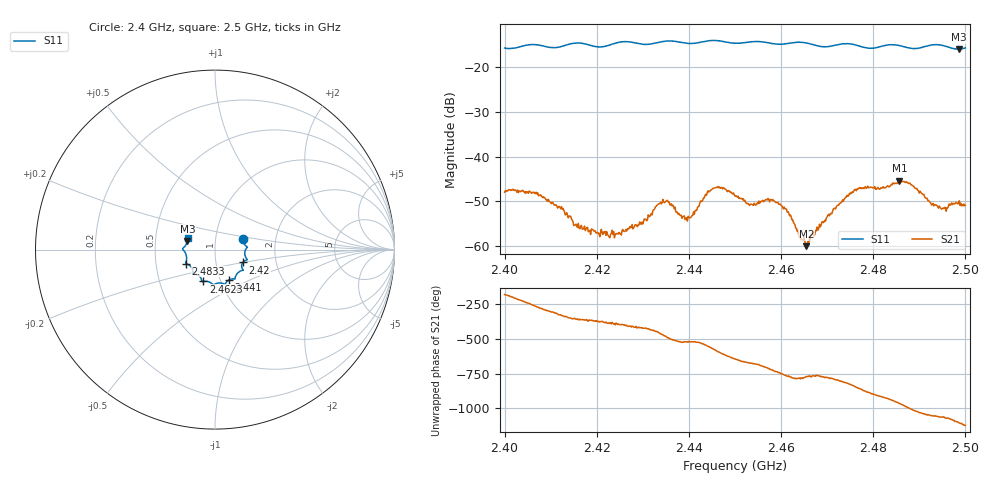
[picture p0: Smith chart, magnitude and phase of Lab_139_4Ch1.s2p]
# Hz S RI R 50
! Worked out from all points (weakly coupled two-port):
!   601 points, 2.4 GHz to 2.5 GHz, reference 50 ohm
!   highest |S21| = -45.43 dB at 2.4857 GHz (marker M1); lowest = -60.1 dB at 2.4655 GHz (marker M2)
!   lowest |S11| = -15.9 dB at 2.4987 GHz (marker M3), VSWR 1.38, Z = 36.5 + j3.46 ohm
!   |S11| at or under -10 dB: start of sweep to end of sweep
!   S12 and S22 are empty: the file has one direction only
!   S11 on the Smith chart (normalised r, x): 2.4 GHz: 1.35, +0.16; 2.42 GHz: 1.35, -0.20; 2.441 GHz: 1.09, -0.39; 2.4623 GHz: 0.83, -0.30; 2.4833 GHz: 0.71, -0.12; 2.5 GHz: 0.73, +0.10
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2.4e9  0.1543 0.0591  -0.00397 -4.45e-05  0 0  0 0
2.407333e9  0.1786 0.0117  9.84e-05 0.00362  0 0  0 0
2.416667e9  0.1783 -0.0569  0.00168 -7.7e-06  0 0  0 0
2.42e9  0.1554 -0.0713  0.00135 -0.000298  0 0  0 0
2.428333e9  0.1486 -0.1167  0.00101 -0.00138  0 0  0 0
2.433333e9  0.1131 -0.1539  -0.000113 -0.00291  0 0  0 0
2.435333e9  0.112 -0.1638  -0.00211 -0.00243  0 0  0 0
2.439167e9  0.0931 -0.1634  -0.00185 -0.000651  0 0  0 0
2.441e9  0.0752 -0.1707  -0.00224 -0.000831  0 0  0 0
2.4455e9  0.0541 -0.1937  -0.00362 0.00255  0 0  0 0
2.45e9  0.0251 -0.1856  0.000898 0.00347  0 0  0 0
2.4535e9  -0.00366 -0.1943  0.00203 0.0021  0 0  0 0
2.458167e9  -0.0262 -0.1835  0.00329 -0.000163  0 0  0 0
2.462333e9  -0.0655 -0.1773  0.000979 -0.00168  0 0  0 0
2.4655e9  -0.0737 -0.1736  0.000615 -0.000767  0 0  0 0
2.466667e9  -0.0755 -0.166  0.000853 -0.000981  0 0  0 0
2.475667e9  -0.1241 -0.1328  -0.00177 -0.00355  0 0  0 0
2.483333e9  -0.1615 -0.0784  -0.00388 0.00239  0 0  0 0
2.485667e9  -0.1617 -0.0704  -0.0024 0.00478  0 0  0 0
2.4945e9  -0.179 0.00691  0.00254 0.000841  0 0  0 0
2.498667e9  -0.1539 0.0461  0.00289 -0.00132  0 0  0 0
2.5e9  -0.1527 0.0652  0.00208 -0.00192  0 0  0 0
